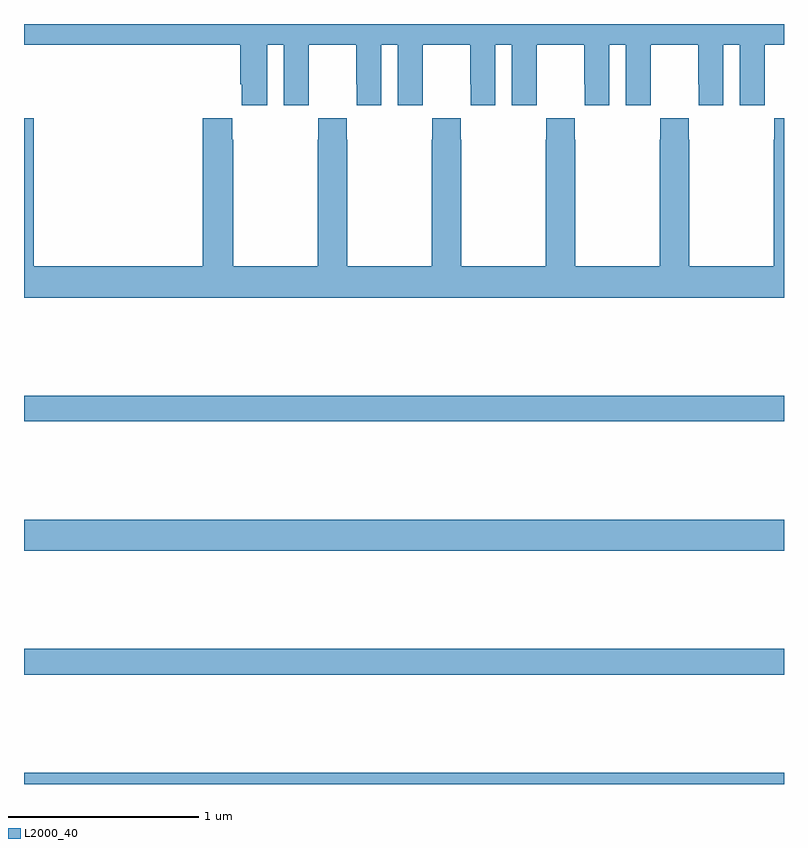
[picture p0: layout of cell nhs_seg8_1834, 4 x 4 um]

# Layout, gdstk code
import gdstk
lib = gdstk.Library(unit=1e-6, precision=1e-09)
def R(c, l, rs):  # rectangles x0, y0, x1, y1
    for r in rs: c.add(gdstk.rectangle(r[:2], r[2:], *l))
def P(c, l, *ps):  # polygons
    for p in ps: c.add(gdstk.Polygon(p, *l))
L2000_40 = (2000, 40)

nhs_seg8_1834 = lib.new_cell('nhs_seg8_1834')
R(nhs_seg8_1834, L2000_40, [(227,1153.9,231,1153.96), (227,1154.476,231,1154.612), (227,1155.128,231,1155.292), (227,1155.808,231,1155.944)])
P(nhs_seg8_1834, L2000_40, [(228.28,1157.792),(228.368,1157.792),(228.368,1157.472),(228.498,1157.472),(228.498,1157.584),(228.499,1157.584),(228.499,1157.792),(228.749,1157.792),(228.749,1157.584),(228.75,1157.584),(228.75,1157.472),(228.88,1157.472),(228.88,1157.792),(228.968,1157.792),(228.968,1157.472),(229.098,1157.472),(229.098,1157.584),(229.099,1157.584),(229.099,1157.792),(229.349,1157.792),(229.349,1157.584),(229.35,1157.584),(229.35,1157.472),(229.48,1157.472),(229.48,1157.792),(229.568,1157.792),(229.568,1157.472),(229.698,1157.472),(229.698,1157.584),(229.699,1157.584),(229.699,1157.792),(229.949,1157.792),(229.949,1157.584),(229.95,1157.584),(229.95,1157.472),(230.08,1157.472),(230.08,1157.792),(230.168,1157.792),(230.168,1157.472),(230.298,1157.472),(230.298,1157.584),(230.299,1157.584),(230.299,1157.792),(230.549,1157.792),(230.549,1157.584),(230.55,1157.584),(230.55,1157.472),(230.68,1157.472),(230.68,1157.792),(230.768,1157.792),(230.768,1157.472),(230.898,1157.472),(230.898,1157.584),(230.899,1157.584),(230.899,1157.792),(231,1157.792),(231,1157.9),(227,1157.9),(227,1157.792),(228.137,1157.792),(228.137,1157.584),(228.146,1157.584),(228.146,1157.472),(228.28,1157.472)],
  [(227.942,1157.404),(227.942,1156.624),(227.051,1156.624),(227.051,1157.404),(227,1157.404),(227,1156.46),(231,1156.46),(231,1157.404),(230.949,1157.404),(230.949,1157.291),(230.947,1157.291),(230.947,1156.624),(230.502,1156.624),(230.502,1157.291),(230.499,1157.291),(230.499,1157.404),(230.349,1157.404),(230.349,1157.291),(230.347,1157.291),(230.347,1156.624),(229.902,1156.624),(229.902,1157.291),(229.899,1157.291),(229.899,1157.404),(229.749,1157.404),(229.749,1157.291),(229.747,1157.291),(229.747,1156.624),(229.302,1156.624),(229.302,1157.291),(229.299,1157.291),(229.299,1157.404),(229.149,1157.404),(229.149,1157.291),(229.147,1157.291),(229.147,1156.624),(228.702,1156.624),(228.702,1157.291),(228.699,1157.291),(228.699,1157.404),(228.549,1157.404),(228.549,1157.291),(228.547,1157.291),(228.547,1156.624),(228.102,1156.624),(228.102,1157.291),(228.095,1157.291),(228.095,1157.404)])

lib.write_gds('nhs_seg8_1834.gds')
